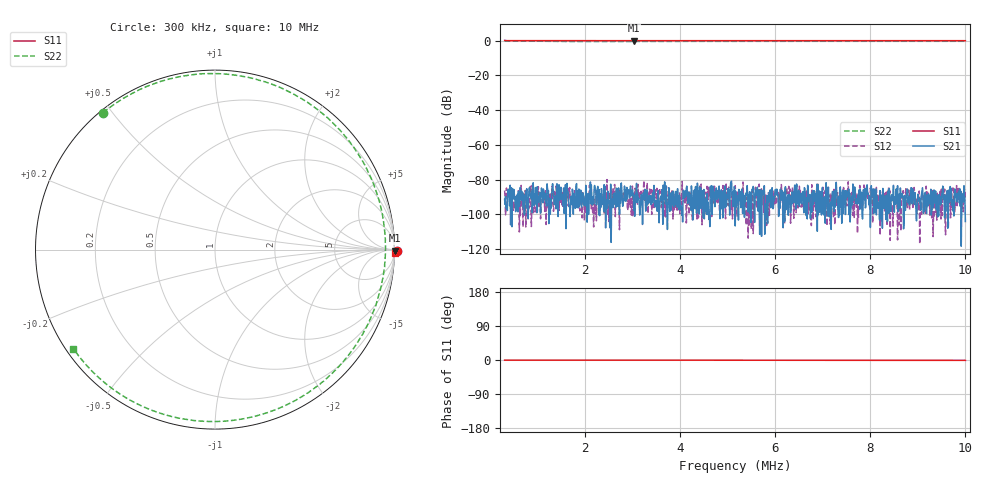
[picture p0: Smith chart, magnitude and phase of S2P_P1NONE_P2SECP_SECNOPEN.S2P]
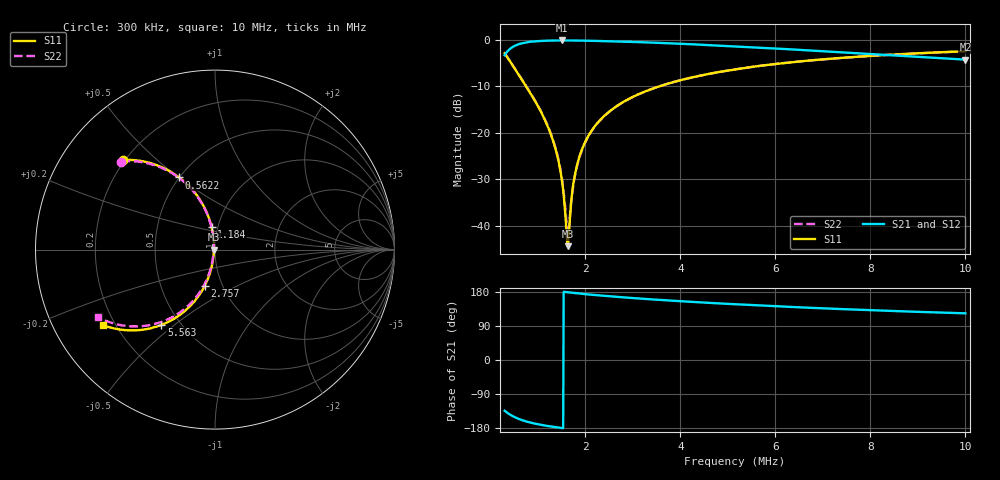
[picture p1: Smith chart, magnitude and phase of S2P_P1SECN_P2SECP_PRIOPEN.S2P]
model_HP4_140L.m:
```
addpath('sbox/sbox');

 %{

---DCR1---LL1-------o---o---o---DCR2---LL2----
                    |   |   |
                    |   |   |
                    Cp  Lp  Rp
                    |   |   |
                    |   |   |
%}

Z0=50;
ftest=5.1e6;
% ftest=9e6;
% fprintf('\n')
% fprintf('*******************************************\n')
% %% port 1 is primary (4T), secondaries (1TCT) are shorted
% fprintf('port 1 is primary (4T), secondaries (1TCT) are shorted\n')
% baseline_filename='S2P_P1PRIMARY_P2NONE_SECONDARIESSHORTED.S2P';
% [f,S]=read_s2p(baseline_filename);
% [df test_idx]=min(abs(f-ftest));
% ftest=f(test_idx);
% S=squeeze(S(test_idx,:,:));
% Z=Z0*s2z(S); Z=Z(1,1);
% Z_primary_leakage=Z;
% fprintf('Z_primary_leakage:\n')
% print_series_equivalent(ftest,Z_primary_leakage)

fprintf('\n')
fprintf('*******************************************\n')
%% port 2 is secondary (pos side), other windings open
fprintf('secondary magnetizing impedance\n')
baseline_filename='S2P_P1NONE_P2SECP_SECNOPEN.S2P';
[f,S]=read_s2p(baseline_filename);
Z=Z0*s2z(permute(S,[3 2 1]));
Zs_mag=squeeze(Z(2,2,:));
% plot(f,real(Zs_mag),f,imag(Zs_mag));
%% get magnetizing inductance using lowest frequency data
Zs_mag_lowf=squeeze(Z(2,2,1));
lowf=f(1);
Lmag=imag(Zs_mag_lowf)./(2*pi*lowf);
DCR=real(Zs_mag_lowf);
fprintf('Low frequency: DCR = %.3f ohms, Lmag = %.3f uH\n',DCR,Lmag*1e6);
% print_series_equivalent(lowf,Zs_mag_lowf);
%% look for self resonance, peak magnitude impedance
[srf_Zs srf_idx]=max(abs(Zs_mag)); 
srf=f(srf_idx);
fprintf('SRF = %.3f MHz, peak Zmag=%.3f ohms\n',srf/1e6,srf_Zs);
Cp=1/((2*pi*srf)^2)/Lmag;
fprintf('Cp = %.2f pf\n',Cp*1e12);

fprintf('\n')
fprintf('*******************************************\n')
%% S2P_P1SECN_P2SECP_PRIOPEN
fprintf('coupling between single windings\n')
baseline_filename='S2P_P1SECN_P2SECP_PRIOPEN.S2P';
[f,S]=read_s2p(baseline_filename);
% winding polarities are opposite, so make S21 and S12 negative
S(:,1,2)=-S(:,1,2); S(:,2,1)=-S(:,2,1);
[df test_idx]=min(abs(f-ftest));
ftest=f(test_idx);
S=squeeze(S(test_idx,:,:));
Z=Z0*s2z(S); 
ZL1=Z(1,1)-Z(2,1);
ZL2=Z(2,2)-Z(2,1);
fprintf('primary leakage ZL1 = Z11-Z21\n')
print_series_equivalent(ftest,ZL1)
fprintf('secondary leakage ZL2 = Z22-Z21\n')
print_series_equivalent(ftest,ZL2)
fprintf('magnetizing impedance = Z21\n')
% print_series_equivalent(ftest,Z(2,1))
print_parallel_equivalent(ftest,Z(2,1))

fprintf('\n')
fprintf('*******************************************\n')
%% S2P_P1SECN_P2SECP_PRIOPEN
fprintf('four turn primary to single turn secondary\n')
baseline_filename='S2P_P1PRIMARY_P2SECN_SECPOPEN.S2P';
[f,S]=read_s2p(baseline_filename);
% winding polarities are opposite, so make S21 and S12 negative
S(:,1,2)=-S(:,1,2); S(:,2,1)=-S(:,2,1);
[df test_idx]=min(abs(f-ftest));
ftest=f(test_idx);
S=squeeze(S(test_idx,:,:));
Z=Z0*s2z(S); 
ZL1=Z(1,1)-Z(2,1);
ZL2=Z(2,2)-Z(2,1);
fprintf('primary leakage ZL1 = Z11-Z21\n')
print_series_equivalent(ftest,ZL1)
fprintf('secondary leakage ZL2 = Z22-Z21\n')
print_series_equivalent(ftest,ZL2)
fprintf('magnetizing impedance = Z21\n')
% print_series_equivalent(ftest,Z(2,1))
print_parallel_equivalent(ftest,Z(2,1))
return;
Z=Z(1,1);
Z_primary_leakage=Z;
fprintf('Z_primary_leakage:\n')
print_series_equivalent(ftest,Z_primary_leakage)
```
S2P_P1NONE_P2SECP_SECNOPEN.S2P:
!Keysight Technologies,E5061B,MY49709559,B.05.06
!Date: Thu Apr 07 18:57:13 2022
!Data & Calibration Information:
!Freq	S11:SOLT2(ON)	S21:SOLT2(ON)	S12:SOLT2(ON)	S22:SOLT2(ON)
# Hz S RI R 50
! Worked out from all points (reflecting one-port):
!   1000 points, 300 kHz to 10 MHz, reference 50 ohm
!   lowest |S11| = 0.0 dB at 3.028 MHz (marker M1)
!   phase of S11 starts at -0 deg and turns -1 deg over the sweep
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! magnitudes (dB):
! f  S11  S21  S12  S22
! 300 kHz  0.1  -91.4  -86.4  -0.1
! 377.7 kHz  0.1  -85.6  -87.6  -0.1
! 474.8 kHz  0.0  -90.9  -95.8  -0.1
! 1.067 MHz  0.0  -89.7  -89.0  -0.3
! 1.572 MHz  0.0  -87.5  -95.9  -0.4
! 2.048 MHz  0.0  -94.2  -91.7  -0.5
! 3.028 MHz  0.0  -89.5  -87.7  -0.4
! 4.281 MHz  0.0  -86.6  -89.7  -0.4
! 5.155 MHz  0.0  -106.8  -83.6  -0.3
! 6.844 MHz  0.0  -92.4  -88.5  -0.3
! 10 MHz  0.0  -104.2  -85.6  -0.3
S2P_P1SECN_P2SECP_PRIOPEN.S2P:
!Keysight Technologies,E5061B,MY49709559,B.05.06
!Date: Thu Apr 07 18:57:59 2022
!Data & Calibration Information:
!Freq	S11:SOLT2(ON)	S21:SOLT2(ON)	S12:SOLT2(ON)	S22:SOLT2(ON)
# Hz S RI R 50
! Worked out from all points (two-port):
!   1000 points, 300 kHz to 10 MHz, reference 50 ohm
!   highest |S21| = -0.14 dB at 1.514 MHz (marker M1); lowest = -4.3 dB at 10 MHz (marker M2)
!   |S21| within 3 dB of the highest: 311.2 kHz to 8.159 MHz (7.848 MHz wide, 185 % of centre)
!   lowest |S11| = -44.4 dB at 1.63 MHz (marker M3), VSWR 1.01, Z = 49.4 - j0.069 ohm
!   |S11| at or under -10 dB: 752.5 kHz to 3.559 MHz (2.806 MHz wide, 130 % of centre)
!   |S22| runs from -42.0 to -2.5 dB; largest |S21 - S12| = 0.006
!   S11 on the Smith chart (normalised r, x): 300 kHz: 0.19, +0.39; 562.2 kHz: 0.50, +0.50; 1.184 MHz: 0.93, +0.24; 2.757 MHz: 0.83, -0.35; 5.563 MHz: 0.39, -0.45; 10 MHz: 0.15, -0.30
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300000  -0.5146 0.4986  -0.4728 -0.4916  -0.4734 -0.4874  -0.5212 0.49
562162.2  -0.1989 0.4017  -0.7924 -0.3923  -0.7901 -0.3885  -0.2033 0.4019
1183584  -0.0187 0.1242  -0.9724 -0.1068  -0.9675 -0.1069  -0.0203 0.1259
1513714  -0.00586 0.0282  -0.9843 -0.00622  -0.9799 -0.00773  -0.00764 0.0294
1630230  -0.00599 -0.000698  -0.9833 0.0241  -0.9795 0.0222  -0.00789 0.000728
1775876  -0.00814 -0.0333  -0.9806 0.0595  -0.9778 0.0566  -0.0101 -0.0321
1950651  -0.0131 -0.0695  -0.9751 0.0967  -0.9719 0.0956  -0.0155 -0.0681
2756557  -0.0566 -0.2004  -0.9277 0.2368  -0.9261 0.2339  -0.0611 -0.1986
5154855  -0.2621 -0.4038  -0.7134 0.4618  -0.7124 0.4604  -0.2764 -0.3942
5562663  -0.2993 -0.4201  -0.6751 0.4815  -0.6739 0.4802  -0.315 -0.4084
1e7  -0.6254 -0.42  -0.3348 0.5126  -0.334 0.5117  -0.6503 -0.3777
